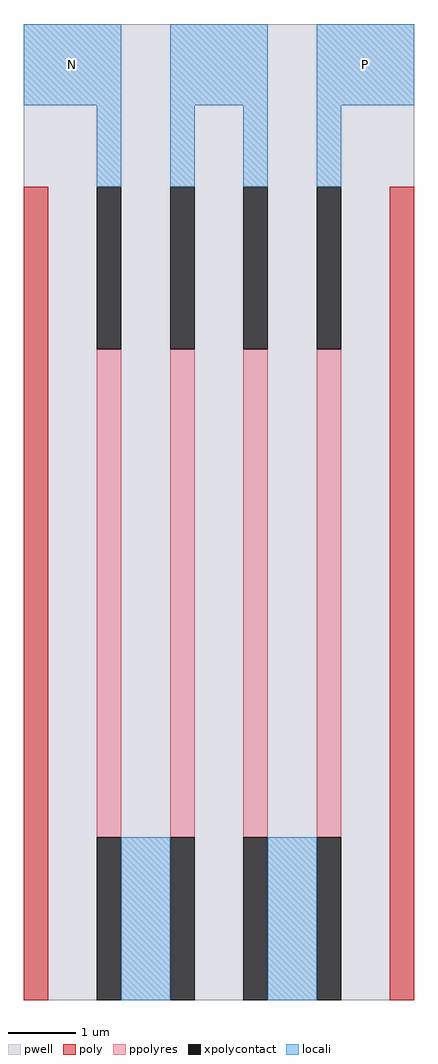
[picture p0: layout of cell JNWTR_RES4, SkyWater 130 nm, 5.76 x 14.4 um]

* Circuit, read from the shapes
.subckt JNWTR_RES4 N P
XR1 N n1 VSUBS sky130_fd_pr__res_high_po w=0.36 l=7.2
XR2 n2 n1 VSUBS sky130_fd_pr__res_high_po w=0.36 l=7.2
XR3 n2 n3 VSUBS sky130_fd_pr__res_high_po w=0.36 l=7.2
XR4 P n3 VSUBS sky130_fd_pr__res_high_po w=0.36 l=7.2
.ends

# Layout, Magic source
magic
tech sky130A
<< pwell >>
rect -18 -60 558 1380
<< poly >>
rect -18 -60 18 1140
rect 522 -60 558 1140
<< xpolycontact >>
rect 90 900 126 1140
rect 90 -60 126 180
rect 198 900 234 1140
rect 198 -60 234 180
rect 306 900 342 1140
rect 306 -60 342 180
rect 414 900 450 1140
rect 414 -60 450 180
<< ppolyres >>
rect 90 180 126 900
rect 198 180 234 900
rect 306 180 342 900
rect 414 180 450 900
<< locali >>
rect -18 1260 126 1380
rect 90 1140 126 1260
rect 198 1260 342 1380
rect 198 1140 234 1260
rect 306 1140 342 1260
rect 414 1260 558 1380
rect 414 1140 450 1260
rect 126 -60 198 180
rect 342 -60 414 180
<< labels >>
flabel locali s -18 1260 126 1380 0 FreeSans 400 0 0 0 N
port 1 nsew signal bidirectional
flabel locali s 414 1260 558 1380 0 FreeSans 400 0 0 0 P
port 2 nsew signal bidirectional
<< properties >>
string FIXED_BBOX 0 0 540 1320
<< end >>
